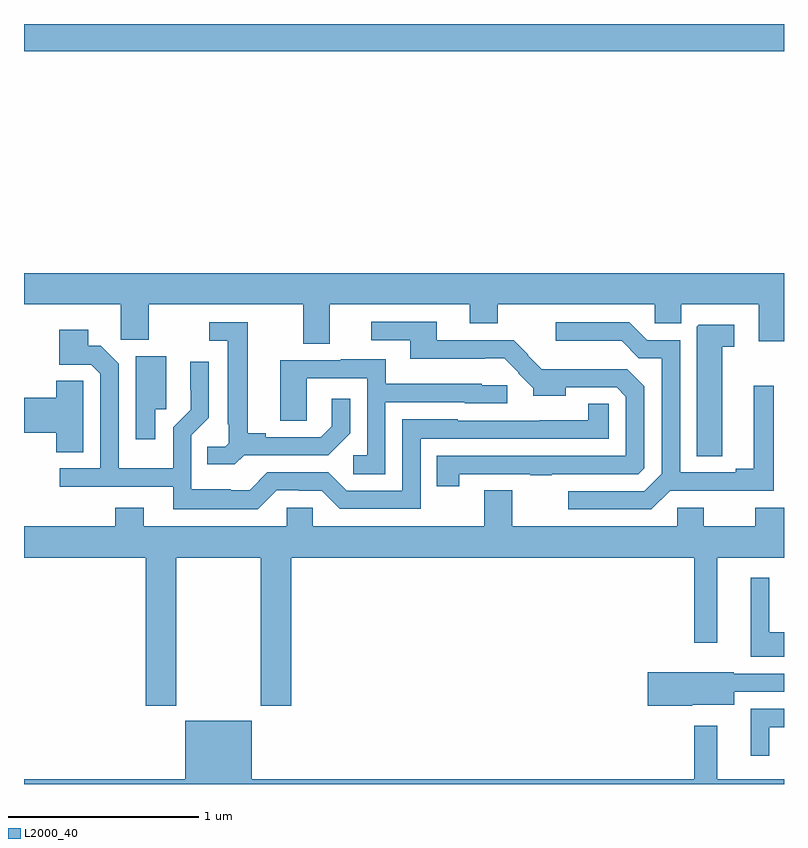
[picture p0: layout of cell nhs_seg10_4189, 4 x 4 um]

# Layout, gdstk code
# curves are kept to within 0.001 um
import gdstk
lib = gdstk.Library(unit=1e-6, precision=1e-09)
def R(c, l, rs):  # rectangles x0, y0, x1, y1
    for r in rs: c.add(gdstk.rectangle(r[:2], r[2:], *l))
def P(c, l, *ps):  # polygons
    for p in ps: c.add(gdstk.Polygon(p, *l))
L2000_40 = (2000, 40)

nhs_seg10_4189 = lib.new_cell('nhs_seg10_4189')
R(nhs_seg10_4189, L2000_40, [(345,1260.356,349,1260.5)])
P(nhs_seg10_4189, L2000_40, [(346.609,1259.024),(347.345,1259.024),(347.345,1258.925),(347.493,1258.925),(347.493,1259.024),(348.321,1259.024),(348.321,1258.926),(348.46,1258.926),(348.46,1259.024),(348.866,1259.024),(348.866,1258.83),(349,1258.83),(349,1259.188),(345,1259.188),(345,1259.024),(345.51,1259.024),(345.51,1258.837),(345.657,1258.837),(345.657,1259.024),(346.469,1259.024),(346.469,1258.816),(346.609,1258.816)],
  [(347.292,1258.131),(347.665,1258.131),(347.665,1258.126),(347.777,1258.126),(347.777,1258.131),(348.234,1258.131),(348.264,1258.161),(348.264,1258.593),(348.175,1258.682),(348.059,1258.682),(348.059,1258.684),(347.725,1258.684),(347.651,1258.757),(347.653,1258.759),(347.577,1258.836),(347.173,1258.836),(347.173,1258.932),(346.827,1258.932),(346.827,1258.836),(347.033,1258.836),(347.033,1258.739),(347.426,1258.739),(347.426,1258.742),(347.528,1258.742),(347.604,1258.665),(347.601,1258.662),(347.68,1258.584),(347.68,1258.544),(347.851,1258.544),(347.851,1258.587),(348.12,1258.587),(348.168,1258.539),(348.168,1258.227),(347.173,1258.227),(347.173,1258.068),(347.292,1258.068)],
  [(346.158,1258.23),(346.6,1258.23),(346.716,1258.346),(346.716,1258.528),(346.619,1258.528),(346.619,1258.383),(346.562,1258.326),(346.273,1258.326),(346.273,1258.346),(346.177,1258.346),(346.177,1258.929),(345.975,1258.929),(345.975,1258.833),(346.073,1258.833),(346.073,1258.393),(346.077,1258.393),(346.077,1258.293),(346.059,1258.275),(345.964,1258.275),(345.964,1258.183),(346.11,1258.183)],
  [(348.4,1258.044),(348.946,1258.044),(348.946,1258.597),(348.842,1258.597),(348.842,1258.16),(348.746,1258.16),(348.746,1258.14),(348.453,1258.14),(348.453,1258.836),(348.279,1258.836),(348.186,1258.929),(347.799,1258.929),(347.799,1258.832),(348.145,1258.832),(348.236,1258.741),(348.357,1258.741),(348.357,1258.134),(348.264,1258.041),(347.865,1258.041),(347.865,1257.945),(348.301,1257.945)],
  [(348.676,1258.801),(348.739,1258.801),(348.739,1258.917),(348.552,1258.917),(348.542,1258.907),(348.542,1258.225),(348.676,1258.225)],
  [(346.329,1258.047),(346.446,1258.047),(346.446,1258.044),(346.566,1258.044),(346.662,1257.948),(347.088,1257.948),(347.088,1258.317),(348.078,1258.317),(348.078,1258.502),(347.97,1258.502),(347.97,1258.414),(347.283,1258.413),(347.283,1258.42),(346.992,1258.42),(346.992,1258.044),(346.698,1258.044),(346.602,1258.14),(346.281,1258.14),(346.188,1258.047),(346.088,1258.047),(346.088,1258.051),(345.879,1258.051),(345.879,1258.335),(345.972,1258.428),(345.972,1258.723),(345.876,1258.723),(345.876,1258.576),(345.878,1258.576),(345.878,1258.47),(345.786,1258.378),(345.786,1258.162),(345.498,1258.162),(345.498,1258.713),(345.405,1258.806),(345.337,1258.806),(345.337,1258.891),(345.185,1258.891),(345.185,1258.707),(345.354,1258.707),(345.402,1258.659),(345.402,1258.161),(345.189,1258.161),(345.189,1258.065),(345.785,1258.065),(345.785,1257.947),(346.229,1257.947)],
  [(345.691,1258.473),(345.748,1258.473),(345.748,1258.752),(345.587,1258.752),(345.587,1258.314),(345.691,1258.314)],
  [(346.902,1258.509),(347.319,1258.509),(347.319,1258.503),(347.544,1258.503),(347.544,1258.599),(347.409,1258.599),(347.409,1258.606),(346.903,1258.606),(346.903,1258.735),(346.667,1258.735),(346.667,1258.731),(346.349,1258.731),(346.349,1258.411),(346.488,1258.411),(346.488,1258.635),(346.806,1258.635),(346.806,1258.23),(346.734,1258.23),(346.734,1258.129),(346.902,1258.129)],
  [(345.313,1258.514),(345.312,1258.514),(345.312,1258.622),(345.17,1258.622),(345.17,1258.532),(345,1258.532),(345,1258.349),(345.17,1258.349),(345.17,1258.246),(345.313,1258.246)],
  [(345.801,1257.692),(346.246,1257.692),(346.246,1256.913),(346.406,1256.913),(346.406,1257.692),(348.528,1257.692),(348.528,1257.243),(348.649,1257.243),(348.649,1257.692),(349,1257.692),(349,1257.955),(348.848,1257.955),(348.848,1257.856),(348.577,1257.856),(348.577,1257.954),(348.438,1257.954),(348.438,1257.856),(347.569,1257.856),(347.569,1258.046),(347.422,1258.046),(347.422,1257.856),(346.521,1257.856),(346.521,1257.954),(346.383,1257.954),(346.383,1257.856),(345.631,1257.856),(345.631,1257.955),(345.479,1257.955),(345.479,1257.856),(345,1257.856),(345,1257.692),(345.641,1257.692),(345.641,1256.913),(345.801,1256.913)],
  [(349,1257.298),(348.922,1257.298),(348.922,1257.586),(348.824,1257.586),(348.824,1257.17),(349,1257.17)],
  [(348.516,1256.918),(348.739,1256.918),(348.739,1256.985),(349,1256.985),(349,1257.081),(348.735,1257.081),(348.735,1257.089),(348.282,1257.089),(348.282,1256.911),(348.516,1256.911)],
  [(348.922,1256.799),(349,1256.799),(349,1256.895),(348.824,1256.895),(348.824,1256.649),(348.922,1256.649)],
  [(349,1256.524),(348.649,1256.524),(348.649,1256.806),(348.528,1256.806),(348.528,1256.524),(346.198,1256.524),(346.198,1256.833),(345.848,1256.833),(345.848,1256.524),(345,1256.524),(345,1256.5),(349,1256.5)])

lib.write_gds('nhs_seg10_4189.gds')
